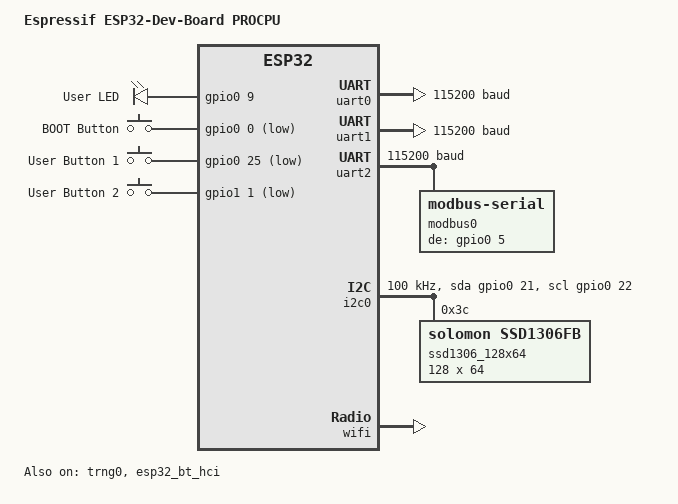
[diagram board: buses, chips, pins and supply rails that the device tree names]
/*
 * Copyright (c) 2023-2025 Espressif Systems (Shanghai) Co., Ltd.
 * Copyright (c) 2025 Muhammad Waleed Badar 
 *
 * SPDX-License-Identifier: Apache-2.0
 */
/dts-v1/;

#include <zephyr/dt-bindings/input/input-event-codes.h>
#include <espressif/esp32/esp32_wroom_32ue_n4.dtsi>
#include <espressif/partitions_0x1000_amp_4M.dtsi>
#include "esp32_dev-pinctrl.dtsi"

#include <zephyr/dt-bindings/input/input-event-codes.h>
#include <zephyr/dt-bindings/lvgl/lvgl.h>

/ {
	model = "Espressif ESP32-Dev-Board PROCPU";
	compatible = "espressif,esp32";

	chosen {
		zephyr,sram = &sram1;
		zephyr,ipc_shm = &shm0;
		zephyr,ipc = &mbox0;
		zephyr,console = &uart0;
		zephyr,shell-uart = &uart0;
		zephyr,flash = &flash0;
		zephyr,code-partition = &slot0_partition;
		zephyr,bt-hci = &esp32_bt_hci;
		zephyr,display = &ssd1306_128x64;
	};

	leds {
		compatible = "gpio-leds";

		led0: led_0 {
			gpios = <&gpio0 9 GPIO_ACTIVE_HIGH>;
			label = "User LED";
		};
	};

	keys: keys {
		compatible = "gpio-keys";
		button0: button_0 {
			gpios = <&gpio0 0 (GPIO_PULL_UP | GPIO_ACTIVE_LOW)>;
			label = "BOOT Button";
			zephyr,code = <INPUT_KEY_ENTER>;
		};

		button1: button_1 {
			gpios = <&gpio0 25 (GPIO_PULL_UP | GPIO_ACTIVE_LOW)>;
			label = "User Button 1";
			zephyr,code = <INPUT_KEY_UP>;
		};

		button2: button_2 {
			gpios = <&gpio1 1 (GPIO_PULL_UP | GPIO_ACTIVE_LOW)>;
			label = "User Button 2";
			zephyr,code = <INPUT_KEY_DOWN>;
		};
	};

	lvgl_keypad_input {
		compatible = "zephyr,lvgl-keypad-input";
		input = <&keys>;
		input-codes = <INPUT_KEY_UP INPUT_KEY_DOWN INPUT_KEY_ENTER>;
		lvgl-codes = <LV_KEY_UP LV_KEY_DOWN LV_KEY_ENTER>;
	};

	mbox-consumer {
		compatible = "vnd,mbox-consumer";
		mboxes = <&mbox0 1>, <&mbox0 0>;
		mbox-names = "tx", "rx";
	};

	wlan1: wlan1 {
		compatible = "espressif,esp32-wifi";
		status = "okay";
	};

	aliases {
		uart0 = &uart0;
		led0 = &led0;
		sw0 = &button0;
		sw1 = &button1;
		sw2 = &button2;
		watchdog0 = &wdt0;
	};
};

&uart0 {
	status = "okay";
	current-speed = <115200>;
	pinctrl-0 = <&uart0_default>;
	pinctrl-names = "default";
};

&uart1 {
	status = "okay";
	current-speed = <115200>;
	pinctrl-0 = <&uart1_default>;
	pinctrl-names = "default";
};

&uart2 {
	status = "okay";
	current-speed = <115200>;
	pinctrl-0 = <&uart2_default>;
	pinctrl-names = "default";

	modbus0 {
		compatible = "zephyr,modbus-serial";
		de-gpios = <&gpio0 5 GPIO_ACTIVE_HIGH>;
	};
};

&gpio0 {
	status = "okay";
};

&gpio1 {
	status = "okay";
};

&i2c0 {
	status = "okay";
	clock-frequency = <I2C_BITRATE_STANDARD>;
	sda-gpios = <&gpio0 21 GPIO_OPEN_DRAIN>;
	scl-gpios = <&gpio0 22 GPIO_OPEN_DRAIN>;
	pinctrl-0 = <&i2c0_default>;
	pinctrl-names = "default";

	ssd1306_128x64: ssd1306@3c {
		compatible = "solomon,ssd1306fb";
		reg = <0x3c>;
		width = <128>;
		height = <64>;
		segment-offset = <0>;
		page-offset = <0>;
		display-offset = <0>;
		multiplex-ratio = <63>;
		segment-remap;
		com-invdir;
		prechargep = <0x22>;
	};
};

&mbox0 {
	status = "okay";
};

&trng0 {
	status = "okay";
};

&esp32_bt_hci {
	status = "okay";
};

&wifi {
	status = "okay";
};
